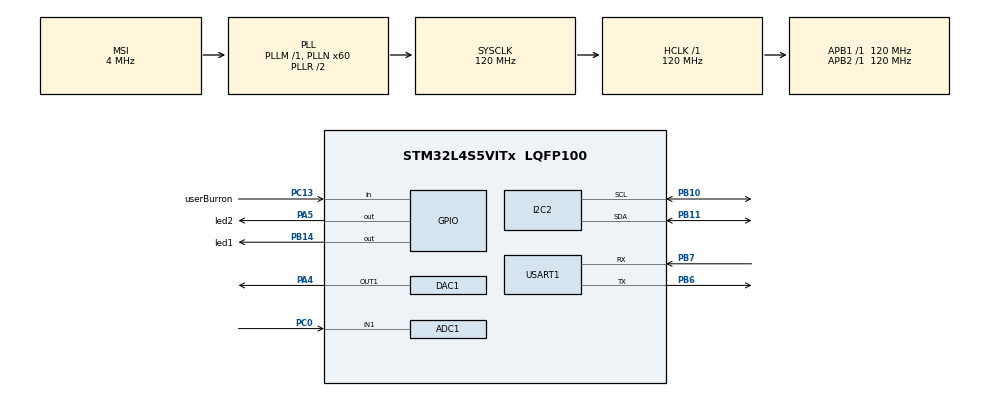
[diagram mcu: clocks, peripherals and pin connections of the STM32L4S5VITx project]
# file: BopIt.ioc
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ADC1.Channel-1\#ChannelRegularConversion=ADC_CHANNEL_1
ADC1.NbrOfConversionFlag=1
ADC1.OffsetNumber-1\#ChannelRegularConversion=ADC_OFFSET_NONE
ADC1.Rank-1\#ChannelRegularConversion=1
ADC1.SamplingTime-1\#ChannelRegularConversion=ADC_SAMPLETIME_2CYCLES_5
ADC1.master=1
DAC1.DAC_Trigger-DAC_OUT1=DAC_TRIGGER_T2_TRGO
Dma.DAC1_CH1.0.Direction=DMA_MEMORY_TO_PERIPH
Dma.DAC1_CH1.0.EventEnable=DISABLE
Dma.DAC1_CH1.0.Instance=DMA1_Channel1
Dma.DAC1_CH1.0.MemDataAlignment=DMA_MDATAALIGN_HALFWORD
Dma.DAC1_CH1.0.MemInc=DMA_MINC_ENABLE
Dma.DAC1_CH1.0.Mode=DMA_CIRCULAR
Dma.DAC1_CH1.0.PeriphDataAlignment=DMA_PDATAALIGN_HALFWORD
Dma.DAC1_CH1.0.PeriphInc=DMA_PINC_DISABLE
Dma.DAC1_CH1.0.Polarity=HAL_DMAMUX_REQUEST_GEN_RISING
Dma.DAC1_CH1.0.Priority=DMA_PRIORITY_LOW
Dma.DAC1_CH1.0.RequestNumber=1
Dma.DAC1_CH1.0.SignalID=NONE
Dma.DAC1_CH1.0.SyncEnable=DISABLE
Dma.DAC1_CH1.0.SyncPolarity=HAL_DMAMUX_SYNC_NO_EVENT
Dma.DAC1_CH1.0.SyncRequestNumber=1
Dma.DAC1_CH1.0.SyncSignalID=NONE
Dma.Request0=DAC1_CH1
I2C2.Timing=0x307075B1
Mcu.Family=STM32L4
Mcu.Name=STM32L4S5VITx
Mcu.Package=LQFP100
NVIC.DMA1_Channel1_IRQn=true\:0\:0\:false\:false\:true\:false\:true\:true
NVIC.PriorityGroup=NVIC_PRIORITYGROUP_4
PA4.Signal=COMP_DAC11_group
PA5.GPIO_Label=led2
PA5.Signal=GPIO_Output
PB10.Mode=I2C
PB10.Signal=I2C2_SCL
PB11.Mode=I2C
PB11.Signal=I2C2_SDA
PB14.GPIO_Label=led1
PB14.Signal=GPIO_Output
PB6.Mode=Asynchronous
PB6.Signal=USART1_TX
PB7.Mode=Asynchronous
PB7.Signal=USART1_RX
PC0.Signal=ADCx_IN1
PC13.GPIO_Label=userBurron
PC13.Signal=GPIO_Input
ProjectManager.HeapSize=0x200
ProjectManager.StackSize=0x400
ProjectManager.TargetToolchain=STM32CubeIDE
RCC.ADCFreq_Value=48000000
RCC.AHBFreq_Value=120000000
RCC.APB1Freq_Value=120000000
RCC.APB1TimFreq_Value=120000000
RCC.APB2Freq_Value=120000000
RCC.APB2TimFreq_Value=120000000
RCC.CortexFreq_Value=120000000
RCC.HCLKFreq_Value=120000000
RCC.HSE_VALUE=8000000
RCC.HSI48_VALUE=48000000
RCC.HSI_VALUE=16000000
RCC.MSI_VALUE=4000000
RCC.PLLN=60
RCC.PLLSAI1N=24
RCC.SYSCLKFreq_VALUE=120000000
RCC.SYSCLKSource=RCC_SYSCLKSOURCE_PLLCLK
RCC.USBFreq_Value=48000000
RCC.VCOOutputFreq_Value=240000000
SH.ADCx_IN1.0=ADC1_IN1,IN1-Single-Ended
SH.COMP_DAC11_group.0=DAC1_OUT1,DAC_OUT1
TIM2.Period=2721
USART1.VirtualMode-Asynchronous=VM_ASYNC
VP_TIM2_VS_ClockSourceINT.Mode=Internal
board=B-L4S5I-IOT01A

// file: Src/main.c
/* USER CODE BEGIN Header */
/**
  ******************************************************************************
  * @file           : main.c
  * @brief          : Main program body
  ******************************************************************************
  * @attention
  *
  * Copyright (c) 2023 STMicroelectronics.
  * All rights reserved.
  *
  * This software is licensed under terms that can be found in the LICENSE file
  * in the root directory of this software component.
  * If no LICENSE file comes with this software, it is provided AS-IS.
  *
  ******************************************************************************
  */
/* USER CODE END Header */
#include "main.h"

/* USER CODE BEGIN Includes */
#include <stdio.h>
#include <string.h>
#define ARM_MATH_CM4
#include "arm_math.h"
#include <stm32l4s5i_iot01_gyro.h>

/* USER CODE END Includes */

ADC_HandleTypeDef hadc1;

DAC_HandleTypeDef hdac1;
DMA_HandleTypeDef hdma_dac1_ch1;

I2C_HandleTypeDef hi2c2;

TIM_HandleTypeDef htim2;

UART_HandleTypeDef huart1;

/* USER CODE BEGIN PV */
// printf & scanf stuff
#ifdef __GNUC__
#define PUTCHAR_PROTOTYPE int __io_putchar(int ch)
#define GETCHAR_PROTOTYPE int __io_getchar(void)
#else
#define PUTCHAR_PROTOTYPE int fputc(int ch, FILE *f)
#define GETCHAR_PROTOTYPE int fgetc(FILE *f)
#endif

PUTCHAR_PROTOTYPE
{
  HAL_UART_Transmit(&huart1, (uint8_t *)&ch, 1, HAL_MAX_DELAY);
  return ch;
}

GETCHAR_PROTOTYPE
{
  uint8_t ch = 0;

  /* Clear the Overrun flag just before receiving the first character */
  __HAL_UART_CLEAR_OREFLAG(&huart1);

  /* Wait for reception of a character on the USART RX line and echo this
   * character on console */
  HAL_UART_Receive(&huart1, (uint8_t *)&ch, 1, HAL_MAX_DELAY);
  HAL_UART_Transmit(&huart1, (uint8_t *)&ch, 1, HAL_MAX_DELAY);
  return ch;
}

// for speaker
int cArraySize = 44;
uint16_t cArray[44];

// for gyroscope
float gyroRead[3];
int shakeValue = 4000;

// for scanf
char inputChar;

/* USER CODE END PV */

void SystemClock_Config(void);
static void MX_GPIO_Init(void);
static void MX_DMA_Init(void);
static void MX_DAC1_Init(void);
static void MX_I2C2_Init(void);
static void MX_USART1_UART_Init(void);
static void MX_ADC1_Init(void);
static void MX_TIM2_Init(void);

int main(void)
{

  /* MCU Configuration--------------------------------------------------------*/

  /* Reset of all peripherals, Initializes the Flash interface and the Systick. */
  HAL_Init();

  /* Configure the system clock */
  SystemClock_Config();

  /* Initialize all configured peripherals */
  MX_GPIO_Init();
  MX_DMA_Init();
  MX_DAC1_Init();
  MX_I2C2_Init();
  MX_USART1_UART_Init();
  MX_ADC1_Init();
  MX_TIM2_Init();
  /* USER CODE BEGIN 2 */
  // start timer for DAC DMA
  HAL_TIM_Base_Start_IT(&htim2);
  	/*
     * Initialize notes
     */
    for (int i = 0; i < cArraySize; i++) {
  	  cArray[i] = (arm_sin_f32(2*PI*i/cArraySize)+1)*(1365); // 1365 multiplier as 4095 max output, max sine output of 2, scale down to 2/3 to reduce distortion (4095/2)*(2/3)
    }

    printf("Hold board still...\n\r");
    HAL_Delay(1000);
    // calibrate gyro
    float gyroCal[3];
    BSP_GYRO_GetXYZ(&gyroCal);
    printf("Gyroscope calibrated.\n\r");

  /* USER CODE END 2 */

  /* Infinite loop */
  /* USER CODE BEGIN WHILE */
  while (1)
  {
	  // printf/scanf test
	  printf("Input a character: ");
//	  scanf("%c", &inputChar);
//	  printf("\n\rYou entered: %c \n\r", inputChar); // print character
	  printf("\n\r");

	  HAL_Delay(1000);

	  // ADC test
	  HAL_ADC_Start(&hadc1);
	  if (HAL_ADC_PollForConversion(&hadc1, 1000) == HAL_OK) {
		  printf("ADC Value: %d\n\r", HAL_ADC_GetValue(&hadc1));
	  }
	  HAL_ADC_Stop(&hadc1);

	  HAL_Delay(1000);

	  // DAC test
	  HAL_DAC_Start_DMA(&hdac1, DAC_CHANNEL_1, (uint32_t*) *cArray, (uint32_t) cArraySize, DAC_ALIGN_12B_R);
	  HAL_Delay(300);
	  HAL_DAC_Stop_DMA(&hdac1, DAC_CHANNEL_1);

	  HAL_Delay(1000);

	  // Gyro test
	  BSP_GYRO_GetXYZ(&gyroRead);
	  printf("Gyroscope: [%f, %f, %f]\n\r", gyroRead[0] - gyroCal[0], gyroRead[1]  - gyroCal[1], gyroRead[2] - gyroCal[2]);

    /* USER CODE END WHILE */

  }
}

void SystemClock_Config(void)
{
  RCC_OscInitTypeDef RCC_OscInitStruct = {0};
  RCC_ClkInitTypeDef RCC_ClkInitStruct = {0};

  /** Configure the main internal regulator output voltage
  */
  if (HAL_PWREx_ControlVoltageScaling(PWR_REGULATOR_VOLTAGE_SCALE1_BOOST) != HAL_OK)
  {
    Error_Handler();
  }

  /** Initializes the RCC Oscillators according to the specified parameters
  * in the RCC_OscInitTypeDef structure.
  */
  RCC_OscInitStruct.OscillatorType = RCC_OSCILLATORTYPE_MSI;
  RCC_OscInitStruct.MSIState = RCC_MSI_ON;
  RCC_OscInitStruct.MSICalibrationValue = 0;
  RCC_OscInitStruct.MSIClockRange = RCC_MSIRANGE_6;
  RCC_OscInitStruct.PLL.PLLState = RCC_PLL_ON;
  RCC_OscInitStruct.PLL.PLLSource = RCC_PLLSOURCE_MSI;
  RCC_OscInitStruct.PLL.PLLM = 1;
  RCC_OscInitStruct.PLL.PLLN = 60;
  RCC_OscInitStruct.PLL.PLLP = RCC_PLLP_DIV2;
  RCC_OscInitStruct.PLL.PLLQ = RCC_PLLQ_DIV2;
  RCC_OscInitStruct.PLL.PLLR = RCC_PLLR_DIV2;
  if (HAL_RCC_OscConfig(&RCC_OscInitStruct) != HAL_OK)
  {
    Error_Handler();
  }

  /** Initializes the CPU, AHB and APB buses clocks
  */
  RCC_ClkInitStruct.ClockType = RCC_CLOCKTYPE_HCLK|RCC_CLOCKTYPE_SYSCLK
                              |RCC_CLOCKTYPE_PCLK1|RCC_CLOCKTYPE_PCLK2;
  RCC_ClkInitStruct.SYSCLKSource = RCC_SYSCLKSOURCE_PLLCLK;
  RCC_ClkInitStruct.AHBCLKDivider = RCC_SYSCLK_DIV1;
  RCC_ClkInitStruct.APB1CLKDivider = RCC_HCLK_DIV1;
  RCC_ClkInitStruct.APB2CLKDivider = RCC_HCLK_DIV1;

  if (HAL_RCC_ClockConfig(&RCC_ClkInitStruct, FLASH_LATENCY_5) != HAL_OK)
  {
    Error_Handler();
  }
}

static void MX_ADC1_Init(void)
{

  ADC_ChannelConfTypeDef sConfig = {0};

  /** Common config
  */
  hadc1.Instance = ADC1;
  hadc1.Init.ClockPrescaler = ADC_CLOCK_ASYNC_DIV1;
  hadc1.Init.Resolution = ADC_RESOLUTION_12B;
  hadc1.Init.DataAlign = ADC_DATAALIGN_RIGHT;
  hadc1.Init.ScanConvMode = ADC_SCAN_DISABLE;
  hadc1.Init.EOCSelection = ADC_EOC_SINGLE_CONV;
  hadc1.Init.LowPowerAutoWait = DISABLE;
  hadc1.Init.ContinuousConvMode = DISABLE;
  hadc1.Init.NbrOfConversion = 1;
  hadc1.Init.DiscontinuousConvMode = DISABLE;
  hadc1.Init.ExternalTrigConv = ADC_SOFTWARE_START;
  hadc1.Init.ExternalTrigConvEdge = ADC_EXTERNALTRIGCONVEDGE_NONE;
  hadc1.Init.DMAContinuousRequests = DISABLE;
  hadc1.Init.Overrun = ADC_OVR_DATA_PRESERVED;
  hadc1.Init.OversamplingMode = DISABLE;
  hadc1.Init.DFSDMConfig = ADC_DFSDM_MODE_ENABLE;
  if (HAL_ADC_Init(&hadc1) != HAL_OK)
  {
    Error_Handler();
  }

  /** Configure Regular Channel
  */
  sConfig.Channel = ADC_CHANNEL_1;
  sConfig.Rank = ADC_REGULAR_RANK_1;
  sConfig.SamplingTime = ADC_SAMPLETIME_2CYCLES_5;
  sConfig.SingleDiff = ADC_SINGLE_ENDED;
  sConfig.OffsetNumber = ADC_OFFSET_NONE;
  sConfig.Offset = 0;
  if (HAL_ADC_ConfigChannel(&hadc1, &sConfig) != HAL_OK)
  {
    Error_Handler();
  }

}

static void MX_DAC1_Init(void)
{

  DAC_ChannelConfTypeDef sConfig = {0};

  /** DAC Initialization
  */
  hdac1.Instance = DAC1;
  if (HAL_DAC_Init(&hdac1) != HAL_OK)
  {
    Error_Handler();
  }

  /** DAC channel OUT1 config
  */
  sConfig.DAC_SampleAndHold = DAC_SAMPLEANDHOLD_DISABLE;
  sConfig.DAC_Trigger = DAC_TRIGGER_T2_TRGO;
  sConfig.DAC_HighFrequency = DAC_HIGH_FREQUENCY_INTERFACE_MODE_ABOVE_80MHZ;
  sConfig.DAC_OutputBuffer = DAC_OUTPUTBUFFER_ENABLE;
  sConfig.DAC_ConnectOnChipPeripheral = DAC_CHIPCONNECT_DISABLE;
  sConfig.DAC_UserTrimming = DAC_TRIMMING_FACTORY;
  if (HAL_DAC_ConfigChannel(&hdac1, &sConfig, DAC_CHANNEL_1) != HAL_OK)
  {
    Error_Handler();
  }

}

static void MX_I2C2_Init(void)
{

  hi2c2.Instance = I2C2;
  hi2c2.Init.Timing = 0x307075B1;
  hi2c2.Init.OwnAddress1 = 0;
  hi2c2.Init.AddressingMode = I2C_ADDRESSINGMODE_7BIT;
  hi2c2.Init.DualAddressMode = I2C_DUALADDRESS_DISABLE;
  hi2c2.Init.OwnAddress2 = 0;
  hi2c2.Init.OwnAddress2Masks = I2C_OA2_NOMASK;
  hi2c2.Init.GeneralCallMode = I2C_GENERALCALL_DISABLE;
  hi2c2.Init.NoStretchMode = I2C_NOSTRETCH_DISABLE;
  if (HAL_I2C_Init(&hi2c2) != HAL_OK)
  {
    Error_Handler();
  }

  /** Configure Analogue filter
  */
  if (HAL_I2CEx_ConfigAnalogFilter(&hi2c2, I2C_ANALOGFILTER_ENABLE) != HAL_OK)
  {
    Error_Handler();
  }

  /** Configure Digital filter
  */
  if (HAL_I2CEx_ConfigDigitalFilter(&hi2c2, 0) != HAL_OK)
  {
    Error_Handler();
  }

}

static void MX_TIM2_Init(void)
{

  TIM_ClockConfigTypeDef sClockSourceConfig = {0};
  TIM_MasterConfigTypeDef sMasterConfig = {0};

  htim2.Instance = TIM2;
  htim2.Init.Prescaler = 0;
  htim2.Init.CounterMode = TIM_COUNTERMODE_UP;
  htim2.Init.Period = 2721;
  htim2.Init.ClockDivision = TIM_CLOCKDIVISION_DIV1;
  htim2.Init.AutoReloadPreload = TIM_AUTORELOAD_PRELOAD_DISABLE;
  if (HAL_TIM_Base_Init(&htim2) != HAL_OK)
  {
    Error_Handler();
  }
  sClockSourceConfig.ClockSource = TIM_CLOCKSOURCE_INTERNAL;
  if (HAL_TIM_ConfigClockSource(&htim2, &sClockSourceConfig) != HAL_OK)
  {
    Error_Handler();
  }
  sMasterConfig.MasterOutputTrigger = TIM_TRGO_RESET;
  sMasterConfig.MasterSlaveMode = TIM_MASTERSLAVEMODE_DISABLE;
  if (HAL_TIMEx_MasterConfigSynchronization(&htim2, &sMasterConfig) != HAL_OK)
  {
    Error_Handler();
  }

}

static void MX_USART1_UART_Init(void)
{

  huart1.Instance = USART1;
  huart1.Init.BaudRate = 115200;
  huart1.Init.WordLength = UART_WORDLENGTH_8B;
  huart1.Init.StopBits = UART_STOPBITS_1;
  huart1.Init.Parity = UART_PARITY_NONE;
  huart1.Init.Mode = UART_MODE_TX_RX;
  huart1.Init.HwFlowCtl = UART_HWCONTROL_NONE;
  huart1.Init.OverSampling = UART_OVERSAMPLING_16;
  huart1.Init.OneBitSampling = UART_ONE_BIT_SAMPLE_DISABLE;
  huart1.Init.ClockPrescaler = UART_PRESCALER_DIV1;
  huart1.AdvancedInit.AdvFeatureInit = UART_ADVFEATURE_NO_INIT;
  if (HAL_UART_Init(&huart1) != HAL_OK)
  {
    Error_Handler();
  }
  if (HAL_UARTEx_SetTxFifoThreshold(&huart1, UART_TXFIFO_THRESHOLD_1_8) != HAL_OK)
  {
    Error_Handler();
  }
  if (HAL_UARTEx_SetRxFifoThreshold(&huart1, UART_RXFIFO_THRESHOLD_1_8) != HAL_OK)
  {
    Error_Handler();
  }
  if (HAL_UARTEx_DisableFifoMode(&huart1) != HAL_OK)
  {
    Error_Handler();
  }

}

static void MX_DMA_Init(void)
{

  /* DMA controller clock enable */
  __HAL_RCC_DMAMUX1_CLK_ENABLE();
  __HAL_RCC_DMA1_CLK_ENABLE();

  /* DMA interrupt init */
  /* DMA1_Channel1_IRQn interrupt configuration */
  HAL_NVIC_SetPriority(DMA1_Channel1_IRQn, 0, 0);
  HAL_NVIC_EnableIRQ(DMA1_Channel1_IRQn);

}

static void MX_GPIO_Init(void)
{
  GPIO_InitTypeDef GPIO_InitStruct = {0};

  /* GPIO Ports Clock Enable */
  __HAL_RCC_GPIOC_CLK_ENABLE();
  __HAL_RCC_GPIOA_CLK_ENABLE();
  __HAL_RCC_GPIOB_CLK_ENABLE();

  /*Configure GPIO pin Output Level */
  HAL_GPIO_WritePin(led2_GPIO_Port, led2_Pin, GPIO_PIN_RESET);

  /*Configure GPIO pin Output Level */
  HAL_GPIO_WritePin(led1_GPIO_Port, led1_Pin, GPIO_PIN_RESET);

  /*Configure GPIO pin : userBurron_Pin */
  GPIO_InitStruct.Pin = userBurron_Pin;
  GPIO_InitStruct.Mode = GPIO_MODE_INPUT;
  GPIO_InitStruct.Pull = GPIO_NOPULL;
  HAL_GPIO_Init(userBurron_GPIO_Port, &GPIO_InitStruct);

  /*Configure GPIO pin : led2_Pin */
  GPIO_InitStruct.Pin = led2_Pin;
  GPIO_InitStruct.Mode = GPIO_MODE_OUTPUT_PP;
  GPIO_InitStruct.Pull = GPIO_NOPULL;
  GPIO_InitStruct.Speed = GPIO_SPEED_FREQ_LOW;
  HAL_GPIO_Init(led2_GPIO_Port, &GPIO_InitStruct);

  /*Configure GPIO pin : led1_Pin */
  GPIO_InitStruct.Pin = led1_Pin;
  GPIO_InitStruct.Mode = GPIO_MODE_OUTPUT_PP;
  GPIO_InitStruct.Pull = GPIO_NOPULL;
  GPIO_InitStruct.Speed = GPIO_SPEED_FREQ_LOW;
  HAL_GPIO_Init(led1_GPIO_Port, &GPIO_InitStruct);

}

void Error_Handler(void)
{
  __disable_irq();
  while (1)
  {
  }
}
